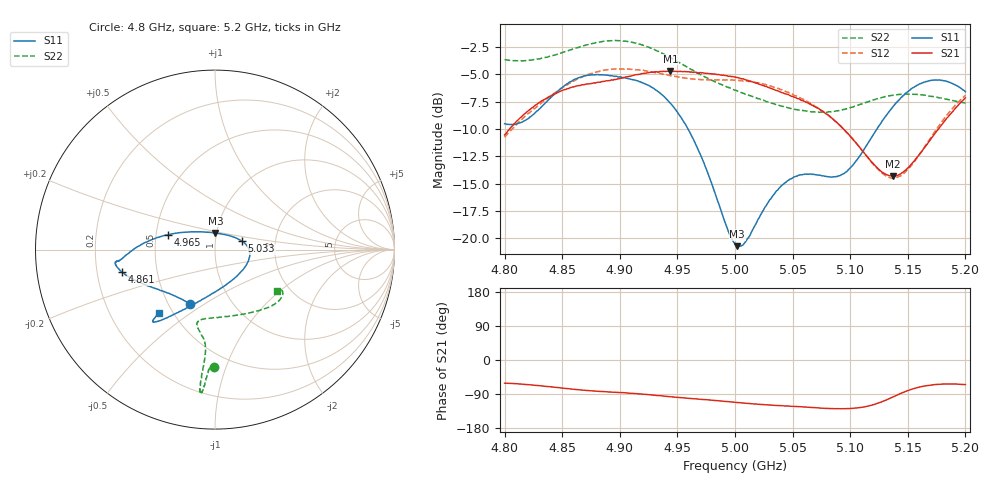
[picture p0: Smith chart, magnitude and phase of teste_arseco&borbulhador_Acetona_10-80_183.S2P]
! Network Analyzer HP8722D
! Hewlett-Packard
! Data name: Linha & Wilkinson
! Saver's name: Rodrigo Anjos
! Comments: Teste da utilização de aquisição
! continua pelo VNA HP8722D
! Time and date: 17/4/2025 15:53
!  Frequency  S11  S21  S12  S22
# HZ  S  MA R 50
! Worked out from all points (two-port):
!   401 points, 4.8 GHz to 5.2 GHz, reference 50 ohm
!   highest |S21| = -4.70 dB at 4.944 GHz (marker M1); lowest = -14.3 dB at 5.137 GHz (marker M2)
!   |S21| within 3 dB of the highest: 4.828 GHz to 5.065 GHz (236.3 MHz wide, 4.78 % of centre); 5.194676 GHz to end of sweep
!   lowest |S11| = -20.7 dB at 5.002 GHz (marker M3), VSWR 1.20, Z = 49.4 + j9.18 ohm
!   |S11| at or under -10 dB: 4.959 GHz to 5.123 GHz (163.9 MHz wide, 3.25 % of centre)
!   |S22| runs from -8.5 to -1.9 dB; largest |S21 - S12| = 0.87
!   S11 on the Smith chart (normalised r, x): 4.8 GHz: 0.64, -0.44; 4.861 GHz: 0.31, -0.11; 4.965 GHz: 0.58, +0.10; 5.033 GHz: 1.34, +0.13; 5.2 GHz: 0.42, -0.38
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4.8e9  0.3346 -114.5  0.2973 -61.1  0.2902 -175.3  0.6567 -90.4
4.819e9  0.3498 -134.5  0.3773 -64.6  0.3655 -174.2  0.6507 -92.0
4.861e9  0.534 -166.5  0.4946 -77.6  0.5281 -177.5  0.7392 -94.3
4.867e9  0.5485 -168.9  0.5043 -79.4  0.5462 -178.6  0.7569 -94.4
4.898e9  0.5492 -173.2  0.5363 -85.4  0.5959 175.3  0.8026 -95.6
4.934e9  0.466 -179.0  0.5785 -94.1  0.572 171.3  0.713 -96.0
4.944e9  0.4149 176.4  0.5822 -96.9  0.5543 171.6  0.6711 -95.8
4.965e9  0.2758 162.6  0.576 -102.5  0.5344 173.2  0.5803 -95.3
4.994e9  0.1085 116.3  0.5514 -109.8  0.5293 175.5  0.4905 -98.1
5e9  0.09502 95.8  0.5472 -111.6  0.5301 175.7  0.4764 -99.4
5.002e9  0.09214 88.4  0.5445 -112.2  0.5284 175.7  0.4727 -99.8
5.01e9  0.09789 60.3  0.5289 -114.2  0.5242 175.4  0.4554 -101.6
5.033e9  0.1571 17.6  0.4818 -119.4  0.493 174.3  0.4136 -103.5
5.049e9  0.1875 1.6  0.4464 -122.1  0.459 173.8  0.3924 -99.7
5.067e9  0.1962 -17.5  0.4067 -125.3  0.4108 173.3  0.3783 -90.0
5.096e9  0.2007 -68.0  0.309 -128.5  0.3098 174.7  0.3907 -67.5
5.123e9  0.3154 -109.5  0.2115 -115.2  0.2099 -169.8  0.4344 -48.6
5.134e9  0.3812 -118.1  0.1933 -101.8  0.1899 -155.0  0.449 -43.1
5.137e9  0.3989 -119.9  0.1923 -97.7  0.1888 -150.2  0.4517 -41.9
5.15e9  0.4687 -125.5  0.2096 -80.8  0.2066 -130.7  0.4567 -37.0
5.17e9  0.5276 -130.0  0.2844 -66.0  0.2892 -112.2  0.4471 -32.3
5.2e9  0.4685 -131.4  0.439 -65.0  0.451 -107.0  0.4156 -33.7
